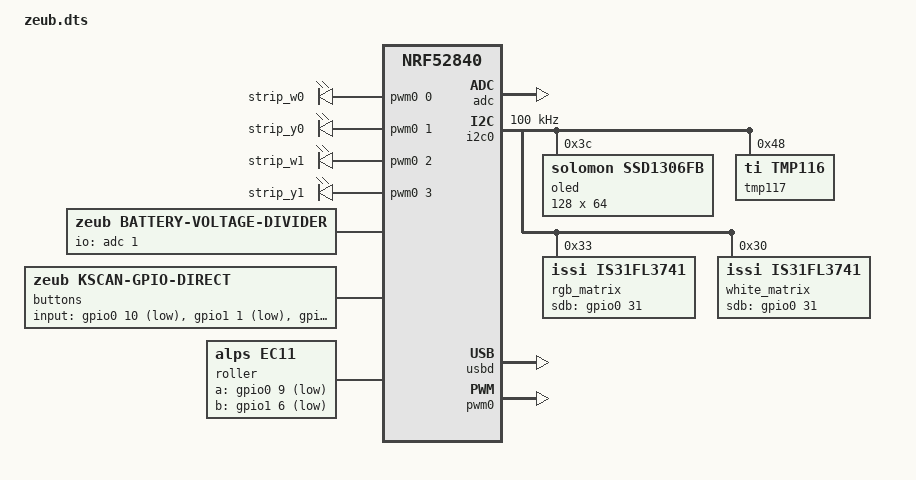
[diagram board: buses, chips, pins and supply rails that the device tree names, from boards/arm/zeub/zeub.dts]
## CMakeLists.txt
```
set(BOARD zeub)
list(APPEND BOARD_ROOT ${CMAKE_CURRENT_SOURCE_DIR})
list(APPEND DTS_ROOT ${CMAKE_SOURCE_DIR})
list(APPEND DTS_ROOT ${CMAKE_SOURCE_DIR}/drivers/zephyr)

list(APPEND ZEPHYR_EXTRA_MODULES ${CMAKE_CURRENT_SOURCE_DIR}/drivers)
cmake_minimum_required(VERSION 3.13.1)
find_package(Zephyr)
project(zeub)

# Add your source file to the "app" target. This must come after
# find_package(Zephyr) which defines the target.
target_include_directories(app PRIVATE include)
target_sources(app PRIVATE src/main.c src/disp.c src/iosevka_16.c src/ble.c src/time.c src/strip.c src/minecraft_font.c src/audio.c)
```

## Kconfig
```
config ZEUB
    bool
    default y
    select NFCT_PINS_AS_GPIOS
    select LED
    select PWM
    select LED_PWM
    select SENSOR
    select I2C      #???
    select TMP116   #???

config ZEUB_UI
    bool
    default y
    select DISPLAY
    select LVGL
	select LV_USE_THEME_BASIC
    select LV_USE_LABEL
    select LED_STRIP

config ZEUB_BLE
    bool
    default y
    select BT
    select BT_SETTINGS
    select BT_PERIPHERAL
    select BT_GATT_CLIENT
    select BT_SMP
    # select BT_SMP_SC_PAIRING_ONLY
    select FLASH
    select FLASH_MAP
    select SETTINGS
    select NVS

choice SETTINGS_BACKEND
    default SETTINGS_NVS
endchoice

# config LVGL_BITS_PER_PIXEL
# 	default 1

# choice LVGL_COLOR_DEPTH
# 	default LVGL_COLOR_DEPTH_1
# endchoice

config RTT_LOG
    bool "Enable RTT logging"
    default n
    select LOG
    select DEBUG
    select CONSOLE
    select USE_SEGGER_RTT
    select RTT_CONSOLE

config ZEUB_DISPLAY_THREAD_STACK_SIZE
    int "Stack size for UI thread/queue"
    default 2048

config ZEUB_DISPLAY_THREAD_PRIORITY
    int "Thread priority for UI thread/queue"
    default 5

config ZEUB_UI_INIT_PRIORITY
    int "Init priority for UI stuff"
    default 70

config TEMP_UPDATE_INTERVAL_MS
    int "Interval in ms to update temperature display"
    default 3000

config TIME_UPDATE_INTERVAL_H
    int "(Minimum) Interval in hours to update time from CTS"
    default 2

# config LVGL_FONT_MONTSERRAT_16
#     default y

# choice LVGL_THEME_DEFAULT_FONT_NORMAL
#     default LVGL_THEME_DEFAULT_FONT_NORMAL_MONTSERRAT_16
# endchoice

config BLE_INIT_PRIORITY
	int "BLE Init Priority"
	default 50

config TIME_INIT_PRIORITY
	int "Time sync init Priority"
	default 60

config STRIP_CMD_MAX_LEN
    int "Maximum number of led strip commands"
    default 256

config PINCTRL
    default y

DT_OLED_PATH := $(dt_nodelabel_path,oled)

# config LV_HOR_RES
#     default $(dt_node_int_prop_int,$(DT_OLED_PATH),width)

# config LV_VER_RES
#     default $(dt_node_int_prop_int,$(DT_OLED_PATH),height)

module = ZEUB
module-str = zeub
source "subsys/logging/Kconfig.template.log_config"

source "Kconfig.zephyr"
```

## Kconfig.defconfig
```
config NFCT_PINS_AS_GPIOS
    default y

config LED
    default y

config PWM
    default y

config LED_PWM
    default y
```

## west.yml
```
manifest:
  remotes:
    - name: zephyrproject-rtos
      url-base: https://github.com/zephyrproject-rtos
  projects:
    - name: zephyr
      remote: zephyrproject-rtos
      revision: main
      clone-depth: 1
      import:
        name-allowlist:
          - lvgl
          - segger
          - hal_nordic
          - cmsis
          - tinycrypt
```

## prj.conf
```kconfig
CONFIG_USE_DT_CODE_PARTITION=y
CONFIG_RTT_LOG=y
CONFIG_ZEUB_LOG_LEVEL_DBG=y

CONFIG_I2C_INIT_PRIORITY=40
CONFIG_LED_STRIP_INIT_PRIORITY=60
CONFIG_APPLICATION_INIT_PRIORITY=50
CONFIG_LV_Z_VDB_SIZE=64
CONFIG_LV_COLOR_DEPTH_1=y
CONFIG_LV_Z_BITS_PER_PIXEL=1
CONFIG_LV_DISP_DEF_REFR_PERIOD=10
CONFIG_LV_CONF_MINIMAL=y
CONFIG_SSD1306_REVERSE_MODE=y
CONFIG_WS2812_STRIP=n
CONFIG_LV_LOG_LEVEL_WARN=y
CONFIG_BT_MAX_CONN=2

CONFIG_LOG_BUFFER_SIZE=20000
CONFIG_SEGGER_RTT_BUFFER_SIZE_UP=20000
CONFIG_IS31FL3741=y
```

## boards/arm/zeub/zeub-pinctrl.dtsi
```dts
&pinctrl {
    i2c0_def: i2c0_default {
        group1 {
            psels = <NRF_PSEL(TWIM_SDA, 1, 9)>, <NRF_PSEL(TWIM_SCL, 0, 7)>;
        };
    };

	pwm0_def: pwm0_default {
		group1 {
			psels = <NRF_PSEL(PWM_OUT0, 0, 30)>, <NRF_PSEL(PWM_OUT1, 0, 29)>,
                  <NRF_PSEL(PWM_OUT2, 0, 28)>, <NRF_PSEL(PWM_OUT3, 0, 2)>;
		};
	};

	i2s0_default_alt: i2s0_default_alt {
		group1 {
			psels = <NRF_PSEL(I2S_SCK_M, 1, 0)>,
				<NRF_PSEL(I2S_LRCK_M, 0, 22)>,
				<NRF_PSEL(I2S_SDOUT, 0, 4)>;
		};
	};
};
```

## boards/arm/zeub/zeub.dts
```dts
/dts-v1/;
#include <nordic/nrf52840_qiaa.dtsi>

#include <dt-bindings/led/led.h>
#include <dt-bindings/zeub/is31fl3741_transform.h>
#include <dt-bindings/pwm/pwm.h>
#include "zeub-pinctrl.dtsi"

 / {
	chosen {
		zephyr,bt-mon-uart = &uart0;
		zephyr,bt-c2h-uart = &uart0;
		zephyr,sram = &sram0;
		zephyr,flash = &flash0;
		zephyr,code-partition = &flash_code_raw;
        zephyr,console = &cdc_dev;
        zephyr,display = &oled;
	};

    led_strip: led_strip {
        compatible = "pwm-leds";
        strip_w0 {
            pwms = <&pwm0 0 100000 0>;
        };
        strip_y0 {
            pwms = <&pwm0 1 100000 0>;
        };
        strip_w1 {
            pwms = <&pwm0 2 100000 0>;
        };
        strip_y1 {
            pwms = <&pwm0 3 100000 0>;
        };
    };

    bat {
        compatible = "zeub,battery-voltage-divider";
        io-channels = <&adc 1>;
        output-ohms = <1>;
        full-ohms = <(1 + 1)>;
    };

    buttons: kscan {
        compatible = "zeub,kscan-gpio-direct";
        status = "okay";
        input-gpios
			= <&gpio0 10 (GPIO_PULL_UP | GPIO_ACTIVE_LOW)>      // Encoder push button
			, <&gpio1  1 (GPIO_PULL_UP | GPIO_ACTIVE_LOW)>      // 5 way select up/A
			, <&gpio1 10 (GPIO_PULL_UP | GPIO_ACTIVE_LOW)>      // 5 way select down/D
			, <&gpio1  4 (GPIO_PULL_UP | GPIO_ACTIVE_LOW)>      // 5 way select left/C
			, <&gpio1 13 (GPIO_PULL_UP | GPIO_ACTIVE_LOW)>      // 5 way select right/B
			, <&gpio1  2 (GPIO_PULL_UP | GPIO_ACTIVE_LOW)>      // 5 way select center/E
            ;
    };

	roller: roller {
		compatible = "alps,ec11";
		status = "okay";
		a-gpios = <&gpio0 9 (GPIO_PULL_UP | GPIO_ACTIVE_LOW)>;
		b-gpios = <&gpio1 6 (GPIO_PULL_UP | GPIO_ACTIVE_LOW)>;
		resolution = <4>;
	};
};

&adc {
	status = "okay";
};

&gpiote {
	status = "okay";
};

&gpio0 {
	status = "okay";
};

&gpio1 {
	status = "okay";
};

/* &spi0 { */
/*     compatible = "nordic,nrf-spim"; */
/*     /1* status = "okay"; *1/ */
/*     sck-pin = <19>; */
/*     mosi-pin = <21>; */
/*     miso-pin = <23>; */
/* }; */

&i2c0 {
    compatible = "nordic,nrf-twi";
    status = "okay";
    pinctrl-0 = <&i2c0_def>;
    pinctrl-names = "default";
    clock-frequency = <I2C_BITRATE_STANDARD>;
    oled: ssd1306@3c {
        compatible = "solomon,ssd1306fb";
        status = "okay";
        reg = <0x3c>;
        width = <128>;
        height = <64>;
        segment-offset = <0>;
        page-offset = <0>;
        display-offset = <0>;
        multiplex-ratio = <63>;
        com-invdir;
        segment-remap;
        prechargep = <0x22>;
    };

    tmp117: tmp117@48 {
        compatible = "ti,tmp116";
        status = "okay";
        reg = <0x48>;
    };

	rgb_matrix: is31fl3741@33 {
		compatible = "issi,is31fl3741";
        status = "okay";
		reg = <0x33>;
		r-ext = <10>;
		led-max-current = <1>;
		sdb-gpios = <&gpio0 31 (GPIO_ACTIVE_HIGH | GPIO_PULL_DOWN)>;
		chain-length = <192>;
        red-scaling = <255>;
        green-scaling = <180>;
        blue-scaling = <200>;
        gamma = <0 1 2 3 4 5 6 7 8 9 10 11 12 13 14 15 16 17 18 19 20 21 22 23 24 25 26 27 28 29 30 31 32 33 34 35 36 37 38 39 40 41 42 43 44 45 46 47 48 49 50 51 52 53 54 55 56 57 58 59 60 61 62 63 64 65 66 67 68 69 70 71 72 73 74 75 76 77 78 79 80 81 82 83 84 85 86 87 88 89 90 91 92 93 94 95 96 97 98 99 100 101 102 103 104 105 106 107 108 109 110 111 112 113 114 115 116 117 118 119 120 121 122 123 124 125 126 127 128 129 130 131 132 133 134 135 136 137 138 139 140 141 142 143 144 145 146 147 148 149 150 151 152 153 154 155 156 157 158 159 160 161 162 163 164 165 166 167 168 169 170 171 172 173 174 175 176 177 178 179 180 181 182 183 184 185 186 187 188 189 190 191 192 193 194 195 196 197 198 199 200 201 202 203 204 205 206 207 208 209 210 211 212 213 214 215 216 217 218 219 220 221 222 223 224 225 226 227 228 229 230 231 232 233 234 235 236 237 238 239 240 241 242 243 244 245 246 247 248 249 250 251 252 253 254 255>;

#define PIX(c, r, g, b) RGB(SW(c), CS(r), CS(g), CS(b))
		map = <
            PIX(8, 17, 16, 15) PIX(8, 14, 13, 12) PIX(8, 11, 10, 9)  PIX(8, 8, 7, 6)
            PIX(8, 39, 38, 37) PIX(8, 36, 35, 34) PIX(8, 33, 32, 31) PIX(8, 30, 29, 28)
            PIX(7, 17, 16, 15) PIX(7, 14, 13, 12) PIX(7, 11, 10, 9)  PIX(7, 8, 7, 6)
            PIX(7, 39, 38, 37) PIX(7, 36, 35, 34) PIX(7, 33, 32, 31) PIX(7, 30, 29, 28)
            PIX(6, 17, 16, 15) PIX(6, 14, 13, 12) PIX(6, 11, 10, 9)  PIX(6, 8, 7, 6)
            PIX(6, 39, 38, 37) PIX(6, 36, 35, 34) PIX(6, 33, 32, 31) PIX(6, 30, 29, 28)
            PIX(5, 17, 16, 15) PIX(5, 14, 13, 12) PIX(5, 11, 10, 9)  PIX(5, 8, 7, 6)
            PIX(5, 39, 38, 37) PIX(5, 36, 35, 34) PIX(5, 33, 32, 31) PIX(5, 30, 29, 28)
            PIX(4, 17, 16, 15) PIX(4, 14, 13, 12) PIX(4, 11, 10, 9)  PIX(4, 8, 7, 6)
            PIX(4, 39, 38, 37) PIX(4, 36, 35, 34) PIX(4, 33, 32, 31) PIX(4, 30, 29, 28)
            PIX(3, 17, 16, 15) PIX(3, 14, 13, 12) PIX(3, 11, 10, 9)  PIX(3, 8, 7, 6)
            PIX(3, 39, 38, 37) PIX(3, 36, 35, 34) PIX(3, 33, 32, 31) PIX(3, 30, 29, 28)
            PIX(2, 17, 16, 15) PIX(2, 14, 13, 12) PIX(2, 11, 10, 9)  PIX(2, 8, 7, 6)
            PIX(2, 39, 38, 37) PIX(2, 36, 35, 34) PIX(2, 33, 32, 31) PIX(2, 30, 29, 28)
            PIX(1, 17, 16, 15) PIX(1, 14, 13, 12) PIX(1, 11, 10, 9)  PIX(1, 8, 7, 6)
            PIX(1, 39, 38, 37) PIX(1, 36, 35, 34) PIX(1, 33, 32, 31) PIX(1, 30, 29, 28)
            >;
    };

	white_matrix: is31fl3741@30 {
		compatible = "issi,is31fl3741";
        status = "okay";
		reg = <0x30>;
		r-ext = <10>;
		led-max-current = <1>;
		sdb-gpios = <&gpio0 31 (GPIO_ACTIVE_HIGH | GPIO_PULL_DOWN)>;
		chain-length = <256>;
        red-scaling = <255>;
        green-scaling = <255>;
        blue-scaling = <255>;
        gamma = <0 1 2 3 4 5 6 7 8 9 10 11 12 13 14 15 16 17 18 19 20 21 22 23 24 25 26 27 28 29 30 31 32 33 34 35 36 37 38 39 40 41 42 43 44 45 46 47 48 49 50 51 52 53 54 55 56 57 58 59 60 61 62 63 64 65 66 67 68 69 70 71 72 73 74 75 76 77 78 79 80 81 82 83 84 85 86 87 88 89 90 91 92 93 94 95 96 97 98 99 100 101 102 103 104 105 106 107 108 109 110 111 112 113 114 115 116 117 118 119 120 121 122 123 124 125 126 127 128 129 130 131 132 133 134 135 136 137 138 139 140 141 142 143 144 145 146 147 148 149 150 151 152 153 154 155 156 157 158 159 160 161 162 163 164 165 166 167 168 169 170 171 172 173 174 175 176 177 178 179 180 181 182 183 184 185 186 187 188 189 190 191 192 193 194 195 196 197 198 199 200 201 202 203 204 205 206 207 208 209 210 211 212 213 214 215 216 217 218 219 220 221 222 223 224 225 226 227 228 229 230 231 232 233 234 235 236 237 238 239 240 241 242 243 244 245 246 247 248 249 250 251 252 253 254 255>;

#define PIX16(r, c1, c2, c3, c4, c5, c6, c7, c8 , c9, c10, c11, c12, c13, c14, c15, c16) \
        PIXEL(SW(r) + CS(c1)) PIXEL(SW(r) + CS(c2)) PIXEL(SW(r) + CS(c3)) PIXEL(SW(r) + CS(c4)) \
        PIXEL(SW(r) + CS(c5)) PIXEL(SW(r) + CS(c6)) PIXEL(SW(r) + CS(c7)) PIXEL(SW(r) + CS(c8)) \
        PIXEL(SW(r) + CS(c9)) PIXEL(SW(r) + CS(c10)) PIXEL(SW(r) + CS(c11)) PIXEL(SW(r) + CS(c12)) \
        PIXEL(SW(r) + CS(c13)) PIXEL(SW(r) + CS(c14)) PIXEL(SW(r) + CS(c15)) PIXEL(SW(r) + CS(c16))
		map = <
            PIX16(1, 16, 15, 14, 13, 12, 11, 10, 9, 8, 7, 6, 5, 4, 3, 2, 1)
            PIX16(1, 39, 38, 37, 36, 35, 34, 33, 32, 31, 30, 29, 28, 27, 26, 25, 24)
            PIX16(2, 16, 15, 14, 13, 12, 11, 10, 9, 8, 7, 6, 5, 4, 3, 2, 1)
            PIX16(2, 39, 38, 37, 36, 35, 34, 33, 32, 31, 30, 29, 28, 27, 26, 25, 24)
            PIX16(3, 16, 15, 14, 13, 12, 11, 10, 9, 8, 7, 6, 5, 4, 3, 2, 1)
            PIX16(3, 39, 38, 37, 36, 35, 34, 33, 32, 31, 30, 29, 28, 27, 26, 25, 24)
            PIX16(4, 16, 15, 14, 13, 12, 11, 10, 9, 8, 7, 6, 5, 4, 3, 2, 1)
            PIX16(4, 39, 38, 37, 36, 35, 34, 33, 32, 31, 30, 29, 28, 27, 26, 25, 24)
            PIX16(5, 16, 15, 14, 13, 12, 11, 10, 9, 8, 7, 6, 5, 4, 3, 2, 1)
            PIX16(5, 39, 38, 37, 36, 35, 34, 33, 32, 31, 30, 29, 28, 27, 26, 25, 24)
            PIX16(6, 16, 15, 14, 13, 12, 11, 10, 9, 8, 7, 6, 5, 4, 3, 2, 1)
            PIX16(6, 39, 38, 37, 36, 35, 34, 33, 32, 31, 30, 29, 28, 27, 26, 25, 24)
            PIX16(7, 16, 15, 14, 13, 12, 11, 10, 9, 8, 7, 6, 5, 4, 3, 2, 1)
            PIX16(7, 39, 38, 37, 36, 35, 34, 33, 32, 31, 30, 29, 28, 27, 26, 25, 24)
            PIX16(8, 16, 15, 14, 13, 12, 11, 10, 9, 8, 7, 6, 5, 4, 3, 2, 1)
            PIX16(8, 39, 38, 37, 36, 35, 34, 33, 32, 31, 30, 29, 28, 27, 26, 25, 24)
            >;
    };
};

&spi1 { status = "disabled"; };

&flash0 {
	/*
	 * For more information, see:
	 * http://docs.zephyrproject.org/latest/devices/dts/flash_partitions.html
	 */
	my-partitions {
		compatible = "fixed-partitions";
		#address-cells = <1>;
		#size-cells = <1>;

		flash_sd: partition_sd@0 {
			label = "softdevice";
			reg = <0x00000000 0x00026000>;
		};
		flash_mbr: partition@0 {
			label = "mbr";
			reg = <0x00000000 0x00001000>;
		};
		flash_code_soft: partition@26000 {
			label = "code_partition_softdevice";
			reg = <0x00026000 0x000c6000>;
		};
		flash_code: partition@1000 {
			label = "code_partition";
			reg = <0x00001000 0x000eb000>;
		};
		flash_code_raw: partition_raw@0 {
			label = "raw_code_partition";
			reg = <0x00000000 0x000ec000>;
		};

		/*
		 * The flash starting at 0x000ec000 and ending at
		 * 0x000f3fff is reserved for use by the application.
		 */

		/*
		 * Storage partition will be used by FCB/LittleFS/NVS
		 * if enabled.
		 */
		storage_partition: partition@ec000 {
			label = "storage";
			reg = <0x000ec000 0x00008000>;
		};

		flash_boot: partition@f4000 {
			label = "adafruit_boot";
			reg = <0x000f4000 0x0000c000>;
		};
	};
};

zephyr_udc0: &usbd {
	compatible = "nordic,nrf-usbd";
	status = "okay";

	cdc_dev: cdc_acm_uart0 {
		compatible = "zephyr,cdc-acm-uart";
		label = "CDC_ACM_0";
	};
};

&pwm0 {
    status = "okay";
    pinctrl-0 = <&pwm0_def>;
    pinctrl-names = "default";
};
```

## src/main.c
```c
#include <zephyr/device.h>
#include <zephyr/kernel.h>
#include <zephyr/drivers/gpio.h>
#include <zephyr/drivers/kscan.h>
#include <zephyr/drivers/sensor.h>

#include <zephyr/logging/log.h>
LOG_MODULE_REGISTER(zeub, CONFIG_ZEUB_LOG_LEVEL);

#include "disp.h"
#include "zeub_time.h"
#include "strip.h"

static const struct device *buttons = DEVICE_DT_GET(DT_NODELABEL(buttons)),
             *roller = DEVICE_DT_GET(DT_NODELABEL(roller));

static void minute_timer_sync_work_cb(struct k_work *work);
static void minute_timer_cb();
static K_WORK_DELAYABLE_DEFINE(minute_timer_sync_work, minute_timer_sync_work_cb);
static K_TIMER_DEFINE(minute_timer, minute_timer_cb, NULL);

enum button {
    ENC_PUSH = 0,
    SEL_UP,
    SEL_DOWN,
    SEL_LEFT,
    SEL_RIGHT,
    SEL_PUSH,
    ROLL_UP,
    ROLL_DOWN,
};

static void handle_button(const struct device *dev, enum button button, bool pressed) {
    static uint8_t channel = 1;
    int ret;
    if (pressed) {
        switch (button) {
        case SEL_PUSH:
            break;
        case ENC_PUSH:
            channel = !channel;
            break;
        case ROLL_UP:
            change_bright(2 + channel, 1);
            break;
        case ROLL_DOWN:
            change_bright(2 + channel, -1);
            break;
        default:
            break;
        }
    }
}

static inline void buttons_cb(const struct device *dev, uint32_t row, uint32_t col, bool pressed) {
    LOG_DBG("buttons %u %d", col, pressed);
    handle_button(dev, col, pressed);
}

static inline void roller_cb(const struct device *dev, uint32_t row, uint32_t col, bool pressed) {
    /* LOG_DBG("roller %u %d", col, pressed); */
    handle_button(dev, col + ROLL_UP, pressed);
}

void zeub_handle_time(const struct time_state *time) {
    const uint32_t rem_ms = (60 - time->time.tm_sec) * 1000 - time->frag * 1000 / 256;
    LOG_WRN("rem ms %u", rem_ms);
    disp_update_time(time, true);
    k_work_schedule(&minute_timer_sync_work, K_MSEC(rem_ms));
}

static void minute_timer_sync_work_cb(struct k_work *work) {
    int32_t skew_ms = k_timer_remaining_get(&minute_timer);
    if (skew_ms > 30000) {
        skew_ms = skew_ms - 60000;
    }
    LOG_INF("skew ms %d", skew_ms);
    k_timer_start(&minute_timer, K_NO_WAIT, K_MINUTES(1));
}

static void minute_timer_cb() {
    struct time_state now;
    int ret = time_get_unix_time(&now);
    if (ret < 0) {
        LOG_ERR("get time %d", ret);
        return;
    }
    disp_update_time(&now, false);
    strip_handle_time(&now);
}

int main() {
    int ret;

    kscan_config(roller, roller_cb);
    kscan_enable_callback(roller);
    kscan_config(buttons, buttons_cb);
    kscan_enable_callback(buttons);

    return 0;
}
```

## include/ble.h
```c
#pragma once

int ble_read_cur_time();
```

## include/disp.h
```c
#include "zeub_time.h"

extern const char *months[], *weekdays[];

void disp_update_time(const struct time_state *time, const bool direct);
```

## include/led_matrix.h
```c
#pragma once

#include "zeub_time.h"

void matrix_update_time(const struct time_state *time, const bool direct);
```

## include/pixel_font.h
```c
static const uint8_t pixel_font[] = {
    0x1F, 0x11, 0x1F,
    0x09, 0x1F, 0x01,
    0x17, 0x15, 0x17,
    0x15, 0x15, 0x1F,
    0x1C, 0x04, 0x1F,
    0x1D, 0x15, 0x17,
    0x1F, 0x15, 0x17,
    0x10, 0x10, 0x1F,
    0x1F, 0x15, 0x1F,
    0x1D, 0x15, 0x1F,   // 9
    0x01,               // . 
    0x05,               // :
    0x10, 0x00, 0x1F, 0x11, 0x11, // oC
};

struct font_info {
    uint8_t start;
    uint8_t len;
    char *s;
};

static const struct font_info font_info[] = {
    {0, 3, "0"},
    {3, 3, "1"},
    {6, 3, "2"},
    {9, 3, "3"},
    {12, 3, "4"},
    {15, 3, "5"},
    {18, 3, "6"},
    {21, 3, "7"},
    {24, 3, "8"},
    {27, 3, "9"},
    {30, 1, "."},
    {31, 1, ":"},
    {32, 5, "oC"},
};
```

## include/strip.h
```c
#pragma once

#include "zeub_time.h"

void strip_handle_time(const struct time_state *time);

struct strip_cmd {
    uint8_t hour, min;
    uint8_t white, yellow;
};

/* extern struct strip_cmd[CONFIG_STRIP_CMD_MAX_LEN]; */
void change_bright(const uint8_t strip, const int8_t change);
```

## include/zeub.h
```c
#pragma once

#include "zeub_time.h"

void zeub_handle_time(const struct time_state *time);
```

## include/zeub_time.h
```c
#pragma once

#include <zephyr/sys/timeutil.h>

struct time_state {
    struct tm time;
    uint8_t frag;
};

extern volatile bool time_synced;

void time_set_cur(const struct time_state *time);
void log_time_state(const char *msg, const struct time_state *time);
int time_get_unix_time(struct time_state *time);
uint64_t time_state_timegm(const struct time_state *time);
uint32_t time_state_diff_ms(const struct time_state *a, const struct time_state *b);
```

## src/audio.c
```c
#include <zephyr/kernel.h>
#include <zephyr/logging/log.h>
#include <zephyr/usb/usb_device.h>
#include <zephyr/usb/class/usb_audio.h>
#include <zephyr/drivers/i2s.h>

LOG_MODULE_REGISTER(zeub_audio, 3);

#define SAMPLE_FREQUENCY    48000
#define SAMPLE_BIT_WIDTH    16
#define TIMEOUT             1000

#define PACKET_SIZE 192
#define PACKET_RATIO 64
#define BLOCK_SIZE (PACKET_SIZE * PACKET_RATIO)
K_MEM_SLAB_DEFINE_STATIC(mem_slab, BLOCK_SIZE, 8, 4);

const struct device *i2s_dev_tx = DEVICE_DT_GET(DT_NODELABEL(i2s_tx));
static bool started = false;

static void data_received(const struct device *dev, struct net_buf *buffer, size_t size) {
    static int packet_ind = 0;
    static uint8_t *buf;
    int ret;

    if (!buffer || !size) {
        /* This should never happen */
        return;
    }

    if (packet_ind == 0) {
        ret = k_mem_slab_alloc(&mem_slab, (void **)&buf, K_NO_WAIT);
        if (ret < 0) {
            LOG_ERR("can't alloc slab: %d", ret);
        }
        LOG_DBG("alloc: %p", (void *) buf);
    }
    memcpy(&buf[PACKET_SIZE * packet_ind], buffer->data, PACKET_SIZE);
    packet_ind ++;
    if (packet_ind == PACKET_RATIO) {
        packet_ind = 0;
        ret = i2s_write(i2s_dev_tx, buf, BLOCK_SIZE);
        LOG_DBG("wrote");
        if (ret < 0) {
            LOG_ERR("i2s write: %d", ret);
        }
        if (!started) {
            ret = i2s_trigger(i2s_dev_tx, I2S_DIR_TX, I2S_TRIGGER_START);
            if (ret < 0) {
                LOG_ERR("Failed to trigger TX: %d", ret);
            }
            started = true;
            LOG_DBG("started");
        }
    }

    if (size == usb_audio_get_in_frame_size(dev)) {
        ret = usb_audio_send(dev, buffer, size);
        if (ret) {
            net_buf_unref(buffer);
        }
    } else {
        net_buf_unref(buffer);
    }
}

static void feature_update(const struct device *dev,
			   const struct usb_audio_fu_evt *evt)
{
	LOG_DBG("Control selector %d for channel %d updated",
		evt->cs, evt->channel);
	switch (evt->cs) {
	case USB_AUDIO_FU_MUTE_CONTROL:
	default:
		break;
	}
}

static const struct usb_audio_ops ops = {
	.data_received_cb = data_received,
	.feature_update_cb = feature_update,
};
const struct device *hs_dev = DEVICE_DT_GET_ONE(usb_audio_hp);

void usb_status_cb(enum usb_dc_status_code status, const uint8_t *param) {
    int ret;
    switch (status) {
        case USB_DC_DISCONNECTED:
            ret = i2s_trigger(i2s_dev_tx, I2S_DIR_TX, I2S_TRIGGER_STOP);
            if (ret < 0) {
                LOG_ERR("Failed to stop: %d", ret);
                return;
            }
            ret = i2s_trigger(i2s_dev_tx, I2S_DIR_TX, I2S_TRIGGER_DRAIN);
            if (ret < 0) {
                LOG_ERR("Failed to drain: %d", ret);
                return;
            }
            started = false;
            return;
        default:
            return;
    }
}

static int audio_init(const struct device *_arg) {
	int ret;

	struct i2s_config config;
	config.word_size = SAMPLE_BIT_WIDTH;
	config.channels = 2;
	config.format = I2S_FMT_DATA_FORMAT_I2S;
	config.options = I2S_OPT_BIT_CLK_MASTER | I2S_OPT_FRAME_CLK_MASTER;
	config.frame_clk_freq = SAMPLE_FREQUENCY;
	config.mem_slab = &mem_slab;
	config.block_size = BLOCK_SIZE;
	config.timeout = TIMEOUT;

	ret = i2s_configure(i2s_dev_tx, I2S_DIR_TX, &config);
	if (ret < 0) {
		LOG_ERR("Failed to configure TX stream: %d", ret);
        return -EIO;
	}

	usb_audio_register(hs_dev, &ops);

	ret = usb_enable(usb_status_cb);
	if (ret != 0) {
		LOG_ERR("Failed to enable USB");
		return -EIO;
	}

	LOG_INF("USB enabled");
    return 0;
}

SYS_INIT(audio_init, APPLICATION, CONFIG_ZEUB_UI_INIT_PRIORITY);
```

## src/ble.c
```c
#include <zephyr/device.h>
#include <zephyr/kernel.h>
#include <zephyr/settings/settings.h>
#include <zephyr/bluetooth/bluetooth.h>
#include <zephyr/bluetooth/conn.h>
#include <zephyr/bluetooth/uuid.h>
#include <zephyr/bluetooth/gatt.h>
#include <zephyr/sys/byteorder.h>

#include "ble.h"
#include "zeub.h"
#include "zeub_time.h"

#include <zephyr/logging/log.h>
LOG_MODULE_REGISTER(zeub_ble, CONFIG_ZEUB_LOG_LEVEL);

static struct bt_conn *time_server_conn = NULL;

#define ZEUB_BLE_PARAM BT_LE_ADV_PARAM(BT_LE_ADV_OPT_CONNECTABLE, \
        BT_GAP_ADV_SLOW_INT_MIN, BT_GAP_ADV_SLOW_INT_MAX, NULL)
static const struct bt_data zeub_ad_data[] = {
    BT_DATA(BT_DATA_NAME_COMPLETE, "Zeub", 4),
    BT_DATA_BYTES(BT_DATA_GAP_APPEARANCE, BT_UUID_16_ENCODE(0x07C6)),   // Multi-color LED array
    BT_DATA_BYTES(BT_DATA_FLAGS, (BT_LE_AD_GENERAL | BT_LE_AD_NO_BREDR)),
    /* BT_DATA_BYTES(BT_DATA_UUID16_ALL, BT_UUID_16_ENCODE(BT_UUID_BAS_VAL)), */
};

static void connected(struct bt_conn *conn, uint8_t err);
static void disconnected(struct bt_conn *conn, uint8_t err);
static struct bt_conn_cb conn_callbacks = {
    .connected = connected,
    .disconnected = disconnected,
};

static uint8_t gatt_read(struct bt_conn *conn, uint8_t err, struct bt_gatt_read_params *params, const void *data, uint16_t length) {
    if (err) {
        if (err == BT_ATT_ERR_ATTRIBUTE_NOT_FOUND) {
            return BT_GATT_ITER_STOP;
        }
        LOG_ERR("read %u", err);
        return BT_GATT_ITER_STOP;
    }

    LOG_INF("read len %u", length);
    const uint8_t *buf = data;
    uint16_t year;
    memcpy(&year, buf, sizeof(uint16_t));
    year = sys_le16_to_cpu(year);
    struct time_state cur_time;
    cur_time.time.tm_year = year - 1900;
    cur_time.time.tm_mon = buf[2] - 1;
    cur_time.time.tm_mday = buf[3];
    cur_time.time.tm_hour = buf[4];
    cur_time.time.tm_min = buf[5];
    cur_time.time.tm_sec = buf[6];
    cur_time.time.tm_wday = buf[7] == 7 ? 0 : buf[7];
    cur_time.time.tm_isdst = buf[9];
    cur_time.frag = buf[8];
    time_set_cur(&cur_time);

    return BT_GATT_ITER_STOP;
}

static struct bt_gatt_read_params read_params = {
    .func = gatt_read,
    .handle_count = 0,
    .by_uuid = {
        .uuid = BT_UUID_CTS_CURRENT_TIME,
        .start_handle = BT_ATT_FIRST_ATTRIBUTE_HANDLE,
        .end_handle = BT_ATT_LAST_ATTRIBUTE_HANDLE,
    },
};

int ble_read_cur_time() {
    int ret = bt_gatt_read(time_server_conn, &read_params);
    if (ret < 0) {
        LOG_ERR("read %d", ret);
        return ret;
    }
    return 0;
}

static void connected(struct bt_conn *conn, uint8_t err) {
    int ret;
    char addr[BT_ADDR_LE_STR_LEN];
    bt_addr_le_to_str(bt_conn_get_dst(conn), addr, sizeof(addr));

    if (err) {
        LOG_WRN("connect %s %u", addr, err);
        return;
    }

    ret = bt_conn_set_security(conn, BT_SECURITY_L2);
    if (ret < 0) {
        LOG_ERR("sec %d", ret);
        return;
    }

    ret = bt_gatt_read(conn, &read_params);
    if (ret < 0) {
        LOG_ERR("read %d", ret);
    }

    time_server_conn = bt_conn_ref(conn);
}

static void disconnected(struct bt_conn *conn, uint8_t err) {
    char addr[BT_ADDR_LE_STR_LEN];
    bt_addr_le_to_str(bt_conn_get_dst(conn), addr, sizeof(addr));

    if (err) {
        LOG_WRN("disconnect %s %u", addr, err);
        return;
    }

    bt_conn_unref(time_server_conn);
    time_server_conn = NULL;
}

static int ble_init(const struct device *_arg) {
    int ret;

    ret = bt_enable(NULL);
    if (ret < 0) {
        LOG_ERR("bt %d", ret);
        return ret;
    }

    ret = settings_subsys_init();
    if (ret < 0) {
        LOG_ERR("settings init %d", ret);
        return ret;
    }

    ret = settings_load_subtree("bt");

    if (ret < 0) {
        LOG_ERR("bt settings load %d", ret);
        return ret;
    }

    bt_conn_cb_register(&conn_callbacks);

    ret = bt_le_adv_start(ZEUB_BLE_PARAM, zeub_ad_data, ARRAY_SIZE(zeub_ad_data), NULL, 0);
    if (ret < 0) {
        LOG_ERR("adv %d", ret);
        return ret;
    }

    LOG_INF("zeub init");

    return 0;
}

SYS_INIT(ble_init, APPLICATION, CONFIG_BLE_INIT_PRIORITY);
```

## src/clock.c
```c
const uint8_t IMG_CLOCK[64 * 64 * 3] = {
0x00, 0x00, 0x00, 0x00, 0x00, 0x00, 0xff, 0xff, 0xff, 0xff, 0xff, 0xff, 0xff, 0xff, 0xff, 0xff, 0xff, 0xff, 0x00, 0x00, 0x00, 0x00, 0x00, 0x00, 0x00, 0x00, 0x00, 0xff, 0xff, 0xff, 0x00, 0x00, 0x00, 0xff, 0x00, 0x00, 0x00, 0x00, 0x00, 0x00, 0x00, 0x00, 0xff, 0xff, 0xff, 0x00, 0x00, 0x00, 0xff, 0xff, 0xff, 0x00, 0x00, 0x00, 0x00, 0x00, 0x00, 0xff, 0x00, 0x00, 0x00, 0x00, 0x00, 0x00, 0x00, 0x00, 0x00, 0x00, 0x00, 0xff, 0xff, 0xff, 0xff, 0xff, 0xff, 0x00, 0x00, 0x00, 0x00, 0x00, 0x00, 0xff, 0x00, 0x00, 0x00, 0x00, 0x00, 0x00, 0x00, 0x00, 0x00, 0x00, 0x00, 0xff, 0xff, 0xff, 0xff, 0xff, 0xff, 0x00, 0x00, 0x00, 0x00, 0x00, 0x00, 0x00, 0x00, 0x00, 0xff, 0x00, 0x00, 0x00, 0x00, 0x00, 0x00, 0x00, 0x00, 0xff, 0xff, 0xff, 0xff, 0xff, 0xff, 0x00, 0x00, 0x00, 0x00, 0x00, 0x00, 0x00, 0x00, 0x00, 0x00, 0x00, 0x00, 0xff, 0x00, 0x00, 0x00, 0x00, 0x00, 0xff, 0xff, 0xff, 0x00, 0x00, 0x00, 0xff, 0xff, 0xff, 0x00, 0x00, 0x00, 0x00, 0x00, 0x00, 0x00, 0x00, 0x00, 0x00, 0x00, 0x00, 0xff, 0xff, 0xff, 0x00, 0x00, 0x00, 0x00, 0x00, 0x00, 0x00, 0x00, 0x00, 0xff, 0xff, 0xff, 0xff, 0xff, 0xff, 0xff, 0xff, 0xff, 0xff, 0xff, 0xff, 0x00, 0x00, 0x00, 0x00, 0x00, 0x00
};
```

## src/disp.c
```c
#include <zephyr/device.h>
#include <zephyr/kernel.h>
#include <zephyr/drivers/display.h>
#include <zephyr/drivers/sensor.h>
#include <zephyr/sys/timeutil.h>
#include <zephyr/drivers/led_strip.h>
#include <lvgl.h>

#include <zephyr/logging/log.h>
LOG_MODULE_REGISTER(zeub_disp, CONFIG_ZEUB_LOG_LEVEL);

#include "zeub_time.h"
#include "clock.c"

const char *months[12] = {"Jan", "Feb", "Mar", "Apr", "May", "Jun", "Jul", "Aug", "Sep", "Oct", "Nov", "Dec"};
const char *weekdays[7] = {"Mon", "Tue", "Wed", "Thu", "Fri", "Sat", "Sun"};

static const struct device *oled = DEVICE_DT_GET(DT_NODELABEL(oled)),
        *temp_sensor = DEVICE_DT_GET(DT_NODELABEL(tmp117)),
        *rgb_matrix = DEVICE_DT_GET(DT_NODELABEL(rgb_matrix)),
        *white_matrix = DEVICE_DT_GET(DT_NODELABEL(white_matrix));
struct disp_screen {
    lv_obj_t *screen,
             *time, *temp;
};

static struct led_rgb pixels[64];
static uint8_t whites[256];
static struct disp_screen screen;
LV_FONT_DECLARE(minecraft_font);
static const lv_font_t *dot_font = &minecraft_font;

static void display_tick_cb(struct k_work *work);
static void display_timer_cb();
static K_WORK_DEFINE(display_tick_work, display_tick_cb);
static K_THREAD_STACK_DEFINE(display_work_stack_area, CONFIG_ZEUB_DISPLAY_THREAD_STACK_SIZE);
static K_TIMER_DEFINE(display_timer, display_timer_cb, NULL);

static void temp_update_work_cb(struct k_work *work);
static void temp_update_timer_cb();
static K_WORK_DEFINE(temp_update_work, temp_update_work_cb);
static K_TIMER_DEFINE(temp_update_timer, temp_update_timer_cb, NULL);

static void init_ui(struct k_work *work);
static K_WORK_DEFINE(init_ui_work, init_ui);

static void update_ui(struct k_work *work);
static K_WORK_DEFINE(update_ui_work, update_ui);

static struct k_work_q display_work_q;

static void display_timer_cb() {
    k_work_submit_to_queue(&display_work_q, &display_tick_work);
}

static void display_tick_cb(struct k_work *work) { lv_task_handler(); }

static void temp_update_timer_cb() { k_work_submit_to_queue(&display_work_q, &temp_update_work); }

static void temp_update_work_cb(struct k_work *work) {
    int ret;
    ret = sensor_sample_fetch(temp_sensor);
    if (ret < 0) {
        LOG_ERR("temp fetch %d", ret);
        return;
    }
    struct sensor_value temp;
    ret = sensor_channel_get(temp_sensor, SENSOR_CHAN_AMBIENT_TEMP, &temp);
    if (ret < 0) {
        LOG_ERR("temp get %d", ret);
        return;
    }
    /* LOG_INF("temp: %d.%d C", temp.val1, temp.val2); */
    lv_label_set_text_fmt(screen.temp, "temp: %d.%02d C", temp.val1, temp.val2 / 10000);
}

static void matrix_draw_chars(const char *chars, const uint8_t len) {
    lv_font_glyph_dsc_t glyph;
    int x = 2;
    memset(whites, 0, 256);
    for (int i = 0; i < len; i ++) {
        const bool found = lv_font_get_glyph_dsc(dot_font, &glyph, chars[i], chars[i + 1]);
        if (!found) {
            LOG_ERR("can't find glyph for %02x", chars[i]);
            continue;
        }
        if (x + glyph.ofs_x + glyph.box_w >= 32) {
            LOG_WRN("can't finish drawing glyph #%d %x", i, chars[i]);
        }
        if (glyph.bpp != 1) {
            LOG_ERR("non monochrome font");
            return;
        }
        const int pos_x = x + glyph.ofs_x;
        const int pos_y = (dot_font->line_height - dot_font->base_line) - glyph.box_h - glyph.ofs_y;
        uint8_t *bitmap = lv_font_get_glyph_bitmap(dot_font, chars[i]);
        uint8_t mask = 0x80;
        for (int r = 0; r < glyph.box_h; r ++) {
            for (int c = 0; c < glyph.box_w; c++) {
                if ((c + pos_x) < 32) {
                    const uint8_t ind = (pos_y + r) * 32 + pos_x + c;
                    whites[ind] = (mask & *bitmap) ? 255 : 0;
                }
                mask >>= 1;
                if (mask == 0) {
                    bitmap ++;
                    mask = 0x80;
                }
            }
        }
        x += glyph.adv_w;
    }
    led_strip_update_channels(white_matrix, whites, 256);
}

static char time_buf[8];
void disp_update_time(const struct time_state *time, const bool direct) {
    const uint8_t disp_min = ((!direct && time->time.tm_sec > 30) ? 1 : 0) + time->time.tm_min;
    snprintf(time_buf, 6, "%02d:%02u", time->time.tm_hour, disp_min);
    lv_label_set_text_fmt(screen.time, "%s %02d %s", months[time->time.tm_mon], time->time.tm_mday, time_buf);
    k_work_submit_to_queue(&display_work_q, &update_ui_work);
}

static void update_ui(struct k_work *work) {
    matrix_draw_chars(time_buf, 5);
}

LV_FONT_DECLARE(iosevka_16);
lv_style_t style;

static void init_ui(struct k_work *work) {
    screen.screen = lv_obj_create(NULL);
    if (screen.screen == NULL) {
        LOG_ERR("ui screen");
        return;
    }
    screen.time = lv_label_create(screen.screen);
    if (screen.time == NULL) {
        LOG_ERR("ui time");
        return;
    }
    screen.temp = lv_label_create(screen.screen);
    if (screen.temp == NULL) {
        LOG_ERR("ui temp");
        return;
    }
    lv_style_set_text_font(&style, &iosevka_16);
    /* lv_style_set_text_color(&style, lv_color_white()); */
    /* lv_style_set_bg_color(&style, lv_color_black()); */
    lv_obj_add_style(screen.screen, &style, LV_PART_MAIN);
    lv_obj_set_width(screen.time, lv_pct(100));
    lv_obj_align(screen.time, LV_ALIGN_TOP_MID, 0, 0);
    lv_label_set_text(screen.time, "");
    lv_obj_set_width(screen.temp, lv_pct(100));
    lv_obj_align(screen.temp, LV_ALIGN_BOTTOM_MID, 0, 0);

    lv_scr_load(screen.screen);

    for (int r = 0; r < 8; r ++) {
        for (int c = 0; c < 8; c ++) {
            const int ind = r * 8 + c;
            const int pix_off = ind * 3;
            pixels[ind].r = IMG_CLOCK[pix_off];
            pixels[ind].g = IMG_CLOCK[pix_off + 1];
            pixels[ind].b = IMG_CLOCK[pix_off + 2];
        }
    }
    led_strip_update_rgb(rgb_matrix, pixels, 64);
}

static int disp_init(const struct device *_arg) {
    display_blanking_off(oled);

    k_work_queue_init(&display_work_q);
    k_work_queue_start(&display_work_q, display_work_stack_area, K_THREAD_STACK_SIZEOF(display_work_stack_area),
                       CONFIG_ZEUB_DISPLAY_THREAD_PRIORITY, NULL);

    k_work_submit_to_queue(&display_work_q, &init_ui_work);
    k_work_submit_to_queue(&display_work_q, &temp_update_work);

    k_timer_start(&temp_update_timer, K_MSEC(CONFIG_TEMP_UPDATE_INTERVAL_MS), K_MSEC(CONFIG_TEMP_UPDATE_INTERVAL_MS));
    k_timer_start(&display_timer, K_MSEC(CONFIG_LV_DISP_DEF_REFR_PERIOD), K_MSEC(CONFIG_LV_DISP_DEF_REFR_PERIOD));
    return 0;
}

SYS_INIT(disp_init, APPLICATION, CONFIG_ZEUB_UI_INIT_PRIORITY);
```
